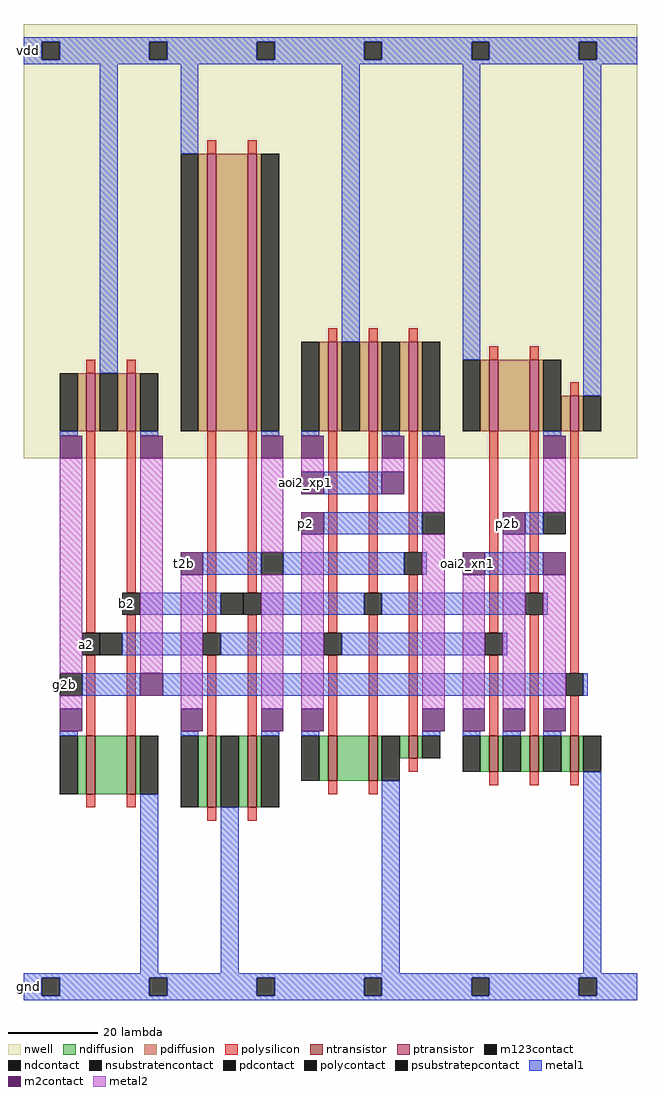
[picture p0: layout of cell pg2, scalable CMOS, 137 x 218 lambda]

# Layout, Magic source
magic
tech scmos
<< nwell >>
rect 0 121 137 218
<< ntransistor >>
rect 14 46 16 59
rect 23 46 25 59
rect 41 43 43 59
rect 50 43 52 59
rect 68 49 70 59
rect 77 49 79 59
rect 86 54 88 59
rect 104 51 106 59
rect 113 51 115 59
rect 122 51 124 59
<< ptransistor >>
rect 14 127 16 140
rect 23 127 25 140
rect 41 127 43 189
rect 50 127 52 189
rect 68 127 70 147
rect 77 127 79 147
rect 86 127 88 147
rect 104 127 106 143
rect 113 127 115 143
rect 122 127 124 135
<< ndiffusion >>
rect 12 46 14 59
rect 16 46 23 59
rect 25 46 26 59
rect 39 43 41 59
rect 43 43 44 59
rect 48 43 50 59
rect 52 43 53 59
rect 66 49 68 59
rect 70 49 77 59
rect 79 49 80 59
rect 84 54 86 59
rect 88 54 89 59
rect 102 51 104 59
rect 106 51 107 59
rect 111 51 113 59
rect 115 51 116 59
rect 120 51 122 59
rect 124 51 125 59
<< pdiffusion >>
rect 12 127 14 140
rect 16 127 17 140
rect 21 127 23 140
rect 25 127 26 140
rect 39 127 41 189
rect 43 127 50 189
rect 52 127 53 189
rect 66 127 68 147
rect 70 127 71 147
rect 75 127 77 147
rect 79 127 80 147
rect 84 127 86 147
rect 88 127 89 147
rect 102 127 104 143
rect 106 127 113 143
rect 115 127 116 143
rect 120 127 122 135
rect 124 127 125 135
<< ndcontact >>
rect 8 46 12 59
rect 26 46 30 59
rect 35 43 39 59
rect 44 43 48 59
rect 53 43 57 59
rect 62 49 66 59
rect 80 49 84 59
rect 89 54 93 59
rect 98 51 102 59
rect 107 51 111 59
rect 116 51 120 59
rect 125 51 129 59
<< pdcontact >>
rect 8 127 12 140
rect 17 127 21 140
rect 26 127 30 140
rect 35 127 39 189
rect 53 127 57 189
rect 62 127 66 147
rect 71 127 75 147
rect 80 127 84 147
rect 89 127 93 147
rect 98 127 102 143
rect 116 127 120 143
rect 125 127 129 135
<< psubstratepcontact >>
rect 4 1 8 5
rect 28 1 32 5
rect 52 1 56 5
rect 76 1 80 5
rect 100 1 104 5
rect 124 1 128 5
<< nsubstratencontact >>
rect 4 210 8 214
rect 28 210 32 214
rect 52 210 56 214
rect 76 210 80 214
rect 100 210 104 214
rect 124 210 128 214
<< polysilicon >>
rect 41 189 43 192
rect 50 189 52 192
rect 14 140 16 143
rect 23 140 25 143
rect 68 147 70 150
rect 77 147 79 150
rect 86 147 88 150
rect 104 143 106 146
rect 113 143 115 146
rect 122 135 124 138
rect 14 82 16 127
rect 23 91 25 127
rect 14 59 16 77
rect 23 59 25 86
rect 41 82 43 127
rect 50 91 52 127
rect 41 59 43 77
rect 50 59 52 86
rect 68 82 70 127
rect 77 91 79 127
rect 86 100 88 127
rect 68 59 70 77
rect 77 59 79 86
rect 86 59 88 95
rect 104 82 106 127
rect 113 91 115 127
rect 104 59 106 77
rect 113 59 115 86
rect 122 73 124 127
rect 122 59 124 68
rect 14 43 16 46
rect 23 43 25 46
rect 86 51 88 54
rect 68 46 70 49
rect 77 46 79 49
rect 104 48 106 51
rect 113 48 115 51
rect 122 48 124 51
rect 41 40 43 43
rect 50 40 52 43
<< polycontact >>
rect 22 86 26 91
rect 13 77 17 82
rect 49 86 53 91
rect 40 77 44 82
rect 85 95 89 100
rect 76 86 80 91
rect 67 77 71 82
rect 112 86 116 91
rect 103 77 107 82
rect 121 68 125 73
<< metal1 >>
rect 0 214 137 215
rect 0 210 4 214
rect 8 210 28 214
rect 32 210 52 214
rect 56 210 76 214
rect 80 210 100 214
rect 104 210 124 214
rect 128 210 137 214
rect 0 209 137 210
rect 17 140 21 209
rect 35 189 39 209
rect 71 147 75 209
rect 8 126 12 127
rect 26 126 30 127
rect 53 126 57 127
rect 62 126 66 127
rect 80 126 84 127
rect 98 143 102 209
rect 125 135 129 209
rect 89 126 93 127
rect 116 126 120 127
rect 67 113 80 118
rect 67 104 89 109
rect 112 104 116 109
rect 40 95 53 100
rect 58 95 85 100
rect 89 95 90 100
rect 103 95 116 100
rect 26 86 44 91
rect 53 86 76 91
rect 80 86 112 91
rect 116 86 117 91
rect 22 77 40 82
rect 44 77 67 82
rect 71 77 103 82
rect 107 77 108 82
rect 13 68 26 73
rect 31 68 121 73
rect 125 68 126 73
rect 8 59 12 60
rect 35 59 39 60
rect 53 59 57 60
rect 26 6 30 46
rect 62 59 66 60
rect 89 59 93 60
rect 98 59 102 60
rect 107 59 111 60
rect 116 59 120 60
rect 44 6 48 43
rect 80 6 84 49
rect 125 6 129 51
rect 0 5 137 6
rect 0 1 4 5
rect 8 1 28 5
rect 32 1 52 5
rect 56 1 76 5
rect 80 1 100 5
rect 104 1 124 5
rect 128 1 137 5
rect 0 0 137 1
<< m2contact >>
rect 8 121 13 126
rect 26 121 31 126
rect 53 121 58 126
rect 62 121 67 126
rect 80 121 85 126
rect 89 121 94 126
rect 116 121 121 126
rect 62 113 67 118
rect 80 113 85 118
rect 62 104 67 109
rect 107 104 112 109
rect 35 95 40 100
rect 98 95 103 100
rect 116 95 121 100
rect 26 68 31 73
rect 8 60 13 65
rect 35 60 40 65
rect 53 60 58 65
rect 62 60 67 65
rect 89 60 94 65
rect 98 60 103 65
rect 107 60 112 65
rect 116 60 121 65
<< metal2 >>
rect 8 73 13 121
rect 26 73 31 121
rect 53 100 58 121
rect 62 118 67 121
rect 80 118 85 121
rect 89 109 94 121
rect 116 109 121 121
rect 8 65 13 68
rect 35 65 40 95
rect 53 65 58 95
rect 62 65 67 104
rect 89 65 94 104
rect 98 65 103 95
rect 107 65 112 104
rect 116 65 121 95
<< m123contact >>
rect 17 77 22 82
rect 8 68 13 73
rect 53 95 58 100
rect 44 86 49 91
rect 89 104 94 109
rect 116 104 121 109
<< labels >>
rlabel metal1 13 77 15 82 0 a2
port 1 nsew
rlabel metal1 22 86 24 91 0 b2
port 2 nsew
rlabel metal1 8 68 10 73 0 g2b
port 3 nsew
rlabel m2contact 62 104 64 109 0 p2
port 4 nsew
rlabel m2contact 107 104 109 109 0 p2b
port 5 nsew
rlabel m2contact 35 95 37 100 0 t2b
port 6 nsew
rlabel m2contact 62 113 64 118 0 aoi2_xp1
rlabel m2contact 98 95 100 100 0 oai2_xn1
rlabel metal1 0 209 2 215 0 vdd
port 7 nsew
rlabel metal1 0 0 2 6 0 gnd
port 8 nsew
<< end >>
